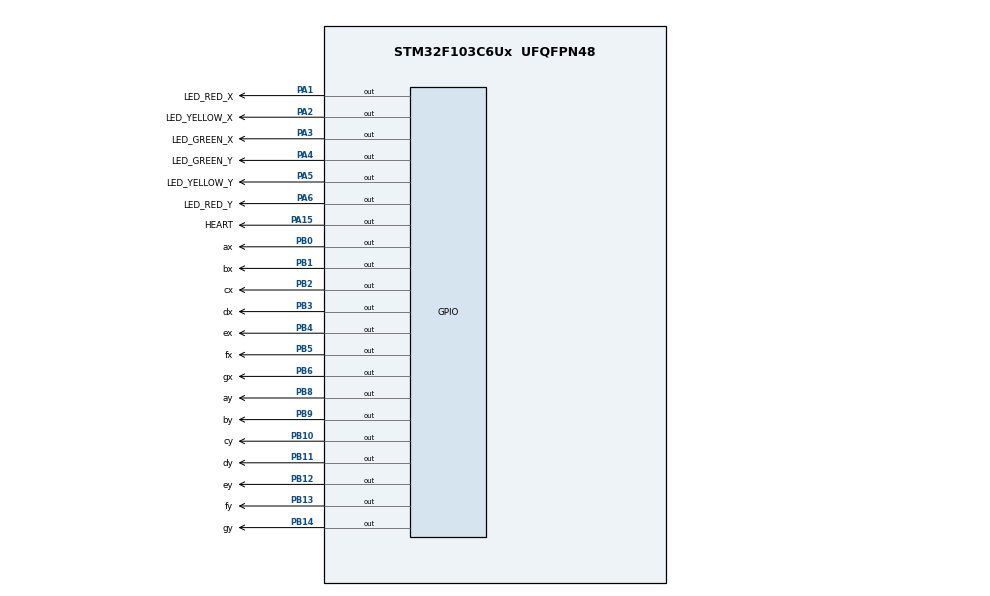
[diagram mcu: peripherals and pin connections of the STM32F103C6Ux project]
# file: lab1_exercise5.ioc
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Mcu.Family=STM32F1
Mcu.Name=STM32F103C6Ux
Mcu.Package=UFQFPN48
NVIC.PriorityGroup=NVIC_PRIORITYGROUP_4
PA1.GPIO_Label=LED_RED_X
PA1.Signal=GPIO_Output
PA15.GPIO_Label=HEART
PA15.Signal=GPIO_Output
PA2.GPIO_Label=LED_YELLOW_X
PA2.Signal=GPIO_Output
PA3.GPIO_Label=LED_GREEN_X
PA3.Signal=GPIO_Output
PA4.GPIO_Label=LED_GREEN_Y
PA4.Signal=GPIO_Output
PA5.GPIO_Label=LED_YELLOW_Y
PA5.Signal=GPIO_Output
PA6.GPIO_Label=LED_RED_Y
PA6.Signal=GPIO_Output
PB0.GPIO_Label=ax
PB0.Signal=GPIO_Output
PB1.GPIO_Label=bx
PB1.Signal=GPIO_Output
PB10.GPIO_Label=cy
PB10.Signal=GPIO_Output
PB11.GPIO_Label=dy
PB11.Signal=GPIO_Output
PB12.GPIO_Label=ey
PB12.Signal=GPIO_Output
PB13.GPIO_Label=fy
PB13.Signal=GPIO_Output
PB14.GPIO_Label=gy
PB14.Signal=GPIO_Output
PB2.GPIO_Label=cx
PB2.Signal=GPIO_Output
PB3.GPIO_Label=dx
PB3.Signal=GPIO_Output
PB4.GPIO_Label=ex
PB4.Signal=GPIO_Output
PB5.GPIO_Label=fx
PB5.Signal=GPIO_Output
PB6.GPIO_Label=gx
PB6.Signal=GPIO_Output
PB8.GPIO_Label=ay
PB8.Signal=GPIO_Output
PB9.GPIO_Label=by
PB9.Signal=GPIO_Output
ProjectManager.HeapSize=0x200
ProjectManager.StackSize=0x400
ProjectManager.TargetToolchain=STM32CubeIDE
RCC.APB1Freq_Value=8000000
RCC.APB2Freq_Value=8000000
VP_SYS_VS_ND.Mode=No_Debug
board=custom

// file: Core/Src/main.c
/* USER CODE BEGIN Header */
/**
  ******************************************************************************
  * @file           : main.c
  * @brief          : Main program body
  ******************************************************************************
  * @attention
  *
  * <h2><center>&copy; Copyright (c) 2025 STMicroelectronics.
  * All rights reserved.</center></h2>
  *
  * This software component is licensed by ST under BSD 3-Clause license,
  * the "License"; You may not use this file except in compliance with the
  * License. You may obtain a copy of the License at:
  *                        opensource.org/licenses/BSD-3-Clause
  *
  ******************************************************************************
  */
/* USER CODE END Header */
#include "main.h"
#include <stdint.h>

/* USER CODE BEGIN PD */
#define SEG_PORT GPIOB
#define LIGHT_PORT GPIOA
/* USER CODE END PD */

/* USER CODE BEGIN PV */
//led count
int count_x = 10;
int count_y = 10;
int counter = 0;
uint8_t digit_bits[10] = { // Binary notation
		0b1111110,//0
		0b0110000,//1
		0b1101101,//2
		0b1111001,//3
		0b0110011,//4
		0b1011011,//5
		0b1011111,//6
		0b1110000,//7
		0b1111111,//8
		0b1111011 //9
};

///----- LIGHTS CONTROL -----///
void Turn_Led_On(uint16_t ledOn, uint16_t ledOff1, uint16_t ledOff2)
{
	//function to turn on 1 led and turn off others
	HAL_GPIO_WritePin(LIGHT_PORT, ledOn, RESET);
	HAL_GPIO_WritePin(LIGHT_PORT, ledOff1, SET);
	HAL_GPIO_WritePin(LIGHT_PORT, ledOff2, SET);
}

void Traffic_Lights(int *count_x, int *count_y) //CONTROLING THE LIGHTS
{
	// RESET COUNTDOWNS
		  if(*count_x == 0) *count_x = 10;
		  if(*count_y == 0) *count_y = 10;

		  // HORIZONTAL LIGHTS//
		  if(*count_x > 5)
		  {
			  Turn_Led_On(LED_RED_X_Pin, LED_YELLOW_X_Pin, LED_GREEN_X_Pin);
		  }
		  else if(*count_x > 2)
		  {
			  Turn_Led_On(LED_GREEN_X_Pin, LED_RED_X_Pin, LED_YELLOW_X_Pin);
		  }
		  else if(*count_x > 0)
		  {
			  Turn_Led_On(LED_YELLOW_X_Pin, LED_RED_X_Pin, LED_GREEN_X_Pin);
		  }

		  //VERTICAL LIGHTS//
		  if(*count_y > 7)
		  {
			  Turn_Led_On(LED_GREEN_Y_Pin, LED_RED_Y_Pin, LED_YELLOW_Y_Pin);
		  }
		  else if(*count_y >5)
		  {
			  Turn_Led_On(LED_YELLOW_Y_Pin, LED_GREEN_Y_Pin, LED_RED_Y_Pin);
		  }
		  else if(*count_y > 0)
		  {
			  Turn_Led_On(LED_RED_Y_Pin, LED_GREEN_Y_Pin, LED_YELLOW_Y_Pin);
		  }

		  //countdown
		  (*count_x)--;
		  (*count_y)--;
}

///----- TIMER CONTROL -----///
//--- HORIZONTAL TIMER ---//
void display7SEG_x(int n)
{
	uint8_t bits_of_n = digit_bits[n];
	HAL_GPIO_WritePin(SEG_PORT, ax_Pin, (bits_of_n & 0b1000000) != 0 ? GPIO_PIN_RESET : GPIO_PIN_SET);
	HAL_GPIO_WritePin(SEG_PORT, bx_Pin, (bits_of_n & 0b0100000) != 0 ? GPIO_PIN_RESET : GPIO_PIN_SET);
	HAL_GPIO_WritePin(SEG_PORT, cx_Pin, (bits_of_n & 0b0010000) != 0 ? GPIO_PIN_RESET : GPIO_PIN_SET);
	HAL_GPIO_WritePin(SEG_PORT, dx_Pin, (bits_of_n & 0b0001000) != 0 ? GPIO_PIN_RESET : GPIO_PIN_SET);
	HAL_GPIO_WritePin(SEG_PORT, ex_Pin, (bits_of_n & 0b0000100) != 0 ? GPIO_PIN_RESET : GPIO_PIN_SET);
	HAL_GPIO_WritePin(SEG_PORT, fx_Pin, (bits_of_n & 0b0000010) != 0 ? GPIO_PIN_RESET : GPIO_PIN_SET);
	HAL_GPIO_WritePin(SEG_PORT, gx_Pin, (bits_of_n & 0b0000001) != 0 ? GPIO_PIN_RESET : GPIO_PIN_SET);
}

void horizontal_timer(int count_x)
{
	//5 -> 3 -> 2
	if(count_x >= 5)
	{
		display7SEG_x(count_x - 4);
	}
	else if(count_x >= 2)
	{
		display7SEG_x(count_x - 1);
	}
	else if(count_x >= 0)
	{
		display7SEG_x(count_x+1);
	}
}

//--- VERTICAL TIMER ---//
void display7SEG_y(int n)
{
	uint8_t bits_of_n = digit_bits[n];
	HAL_GPIO_WritePin(SEG_PORT, ay_Pin, (bits_of_n & 0b1000000) != 0 ? GPIO_PIN_RESET : GPIO_PIN_SET);
	HAL_GPIO_WritePin(SEG_PORT, by_Pin, (bits_of_n & 0b0100000) != 0 ? GPIO_PIN_RESET : GPIO_PIN_SET);
	HAL_GPIO_WritePin(SEG_PORT, cy_Pin, (bits_of_n & 0b0010000) != 0 ? GPIO_PIN_RESET : GPIO_PIN_SET);
	HAL_GPIO_WritePin(SEG_PORT, dy_Pin, (bits_of_n & 0b0001000) != 0 ? GPIO_PIN_RESET : GPIO_PIN_SET);
	HAL_GPIO_WritePin(SEG_PORT, ey_Pin, (bits_of_n & 0b0000100) != 0 ? GPIO_PIN_RESET : GPIO_PIN_SET);
	HAL_GPIO_WritePin(SEG_PORT, fy_Pin, (bits_of_n & 0b0000010) != 0 ? GPIO_PIN_RESET : GPIO_PIN_SET);
	HAL_GPIO_WritePin(SEG_PORT, gy_Pin, (bits_of_n & 0b0000001) != 0 ? GPIO_PIN_RESET : GPIO_PIN_SET);
}

void vertical_timer(int count_y)
{
	//5 -> 3 -> 2
	if(count_y >= 7)
	{
		display7SEG_y(count_y - 6);
	}
	else if(count_y >= 5)
	{
		display7SEG_y(count_y - 4);
	}
	else if(count_y >= 0)
	{
		display7SEG_y(count_y+1);
	}
}
/* USER CODE END PV */

void SystemClock_Config(void);
static void MX_GPIO_Init(void);

int main(void)
{

  /* MCU Configuration--------------------------------------------------------*/

  /* Reset of all peripherals, Initializes the Flash interface and the Systick. */
  HAL_Init();

  /* Configure the system clock */
  SystemClock_Config();

  /* Initialize all configured peripherals */
  MX_GPIO_Init();

  /* Infinite loop */
  while (1)
  {

	  Traffic_Lights(&count_x, &count_y);
	  horizontal_timer(count_x);
	  vertical_timer(count_y);

	  HAL_GPIO_TogglePin(HEART_GPIO_Port, HEART_Pin);
	  HAL_Delay(1000);
  }
}

void SystemClock_Config(void)
{
  RCC_OscInitTypeDef RCC_OscInitStruct = {0};
  RCC_ClkInitTypeDef RCC_ClkInitStruct = {0};

  /** Initializes the RCC Oscillators according to the specified parameters
  * in the RCC_OscInitTypeDef structure.
  */
  RCC_OscInitStruct.OscillatorType = RCC_OSCILLATORTYPE_HSI;
  RCC_OscInitStruct.HSIState = RCC_HSI_ON;
  RCC_OscInitStruct.HSICalibrationValue = RCC_HSICALIBRATION_DEFAULT;
  RCC_OscInitStruct.PLL.PLLState = RCC_PLL_NONE;
  if (HAL_RCC_OscConfig(&RCC_OscInitStruct) != HAL_OK)
  {
    Error_Handler();
  }
  /** Initializes the CPU, AHB and APB buses clocks
  */
  RCC_ClkInitStruct.ClockType = RCC_CLOCKTYPE_HCLK|RCC_CLOCKTYPE_SYSCLK
                              |RCC_CLOCKTYPE_PCLK1|RCC_CLOCKTYPE_PCLK2;
  RCC_ClkInitStruct.SYSCLKSource = RCC_SYSCLKSOURCE_HSI;
  RCC_ClkInitStruct.AHBCLKDivider = RCC_SYSCLK_DIV1;
  RCC_ClkInitStruct.APB1CLKDivider = RCC_HCLK_DIV1;
  RCC_ClkInitStruct.APB2CLKDivider = RCC_HCLK_DIV1;

  if (HAL_RCC_ClockConfig(&RCC_ClkInitStruct, FLASH_LATENCY_0) != HAL_OK)
  {
    Error_Handler();
  }
}

static void MX_GPIO_Init(void)
{
  GPIO_InitTypeDef GPIO_InitStruct = {0};

  /* GPIO Ports Clock Enable */
  __HAL_RCC_GPIOA_CLK_ENABLE();
  __HAL_RCC_GPIOB_CLK_ENABLE();

  /*Configure GPIO pin Output Level */
  HAL_GPIO_WritePin(GPIOA, LED_RED_X_Pin|LED_YELLOW_X_Pin|LED_GREEN_X_Pin|LED_GREEN_Y_Pin
                          |LED_YELLOW_Y_Pin|LED_RED_Y_Pin|HEART_Pin, GPIO_PIN_RESET);

  /*Configure GPIO pin Output Level */
  HAL_GPIO_WritePin(GPIOB, ax_Pin|bx_Pin|cx_Pin|cy_Pin
                          |dy_Pin|ey_Pin|fy_Pin|gy_Pin
                          |dx_Pin|ex_Pin|fx_Pin|gx_Pin
                          |ay_Pin|by_Pin, GPIO_PIN_RESET);

  /*Configure GPIO pins : LED_RED_X_Pin LED_YELLOW_X_Pin LED_GREEN_X_Pin LED_GREEN_Y_Pin
                           LED_YELLOW_Y_Pin LED_RED_Y_Pin HEART_Pin */
  GPIO_InitStruct.Pin = LED_RED_X_Pin|LED_YELLOW_X_Pin|LED_GREEN_X_Pin|LED_GREEN_Y_Pin
                          |LED_YELLOW_Y_Pin|LED_RED_Y_Pin|HEART_Pin;
  GPIO_InitStruct.Mode = GPIO_MODE_OUTPUT_PP;
  GPIO_InitStruct.Pull = GPIO_NOPULL;
  GPIO_InitStruct.Speed = GPIO_SPEED_FREQ_LOW;
  HAL_GPIO_Init(GPIOA, &GPIO_InitStruct);

  /*Configure GPIO pins : ax_Pin bx_Pin cx_Pin cy_Pin
                           dy_Pin ey_Pin fy_Pin gy_Pin
                           dx_Pin ex_Pin fx_Pin gx_Pin
                           ay_Pin by_Pin */
  GPIO_InitStruct.Pin = ax_Pin|bx_Pin|cx_Pin|cy_Pin
                          |dy_Pin|ey_Pin|fy_Pin|gy_Pin
                          |dx_Pin|ex_Pin|fx_Pin|gx_Pin
                          |ay_Pin|by_Pin;
  GPIO_InitStruct.Mode = GPIO_MODE_OUTPUT_PP;
  GPIO_InitStruct.Pull = GPIO_NOPULL;
  GPIO_InitStruct.Speed = GPIO_SPEED_FREQ_LOW;
  HAL_GPIO_Init(GPIOB, &GPIO_InitStruct);

}

void Error_Handler(void)
{
  __disable_irq();
  while (1)
  {
  }
}

/************************ (C) COPYRIGHT STMicroelectronics *****END OF FILE****/
